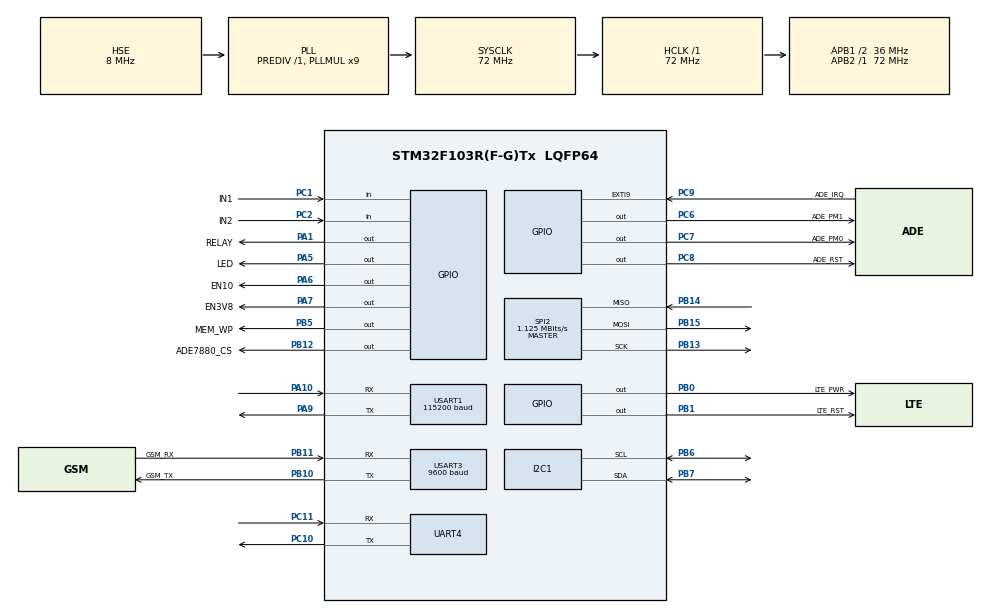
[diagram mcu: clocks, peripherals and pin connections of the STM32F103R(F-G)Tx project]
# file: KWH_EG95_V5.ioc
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ADC1.Channel-0\#ChannelRegularConversion=ADC_CHANNEL_TEMPSENSOR
ADC1.NbrOfConversionFlag=1
ADC1.Rank-0\#ChannelRegularConversion=1
ADC1.SamplingTime-0\#ChannelRegularConversion=ADC_SAMPLETIME_1CYCLE_5
ADC1.master=1
IWDG.Prescaler=IWDG_PRESCALER_256
Mcu.Family=STM32F1
Mcu.Name=STM32F103R(F-G)Tx
Mcu.Package=LQFP64
NVIC.PriorityGroup=NVIC_PRIORITYGROUP_4
NVIC.UART4_IRQn=true\:0\:0\:false\:false\:true\:true\:true
NVIC.USART1_IRQn=true\:0\:0\:false\:false\:true\:true\:true
NVIC.USART3_IRQn=true\:0\:0\:false\:false\:true\:true\:true
PA1.GPIO_Label=RELAY
PA1.Signal=GPIO_Output
PA10.Mode=Asynchronous
PA10.Signal=USART1_RX
PA13.Mode=Serial_Wire
PA13.Signal=SYS_JTMS-SWDIO
PA14.Mode=Serial_Wire
PA14.Signal=SYS_JTCK-SWCLK
PA5.GPIO_Label=LED
PA5.Signal=GPIO_Output
PA6.GPIO_Label=EN10
PA6.Signal=GPIO_Output
PA7.GPIO_Label=EN3V8
PA7.Signal=GPIO_Output
PA9.GPIO_Speed=GPIO_SPEED_FREQ_MEDIUM
PA9.Mode=Asynchronous
PA9.Signal=USART1_TX
PB0.GPIO_Label=LTE_PWR
PB0.GPIO_ModeDefaultOutputPP=GPIO_MODE_OUTPUT_OD
PB0.Signal=GPIO_Output
PB1.GPIO_Label=LTE_RST
PB1.GPIO_ModeDefaultOutputPP=GPIO_MODE_OUTPUT_OD
PB1.Signal=GPIO_Output
PB10.GPIO_Label=GSM_TX
PB10.Mode=Asynchronous
PB10.Signal=USART3_TX
PB11.GPIO_Label=GSM_RX
PB11.Mode=Asynchronous
PB11.Signal=USART3_RX
PB12.GPIO_Label=ADE7880_CS
PB12.Signal=GPIO_Output
PB13.Mode=Full_Duplex_Master
PB13.Signal=SPI2_SCK
PB14.Mode=Full_Duplex_Master
PB14.Signal=SPI2_MISO
PB15.Mode=Full_Duplex_Master
PB15.Signal=SPI2_MOSI
PB5.GPIO_Label=MEM_WP
PB5.Signal=GPIO_Output
PB6.Mode=I2C
PB6.Signal=I2C1_SCL
PB7.Mode=I2C
PB7.Signal=I2C1_SDA
PC1.GPIO_Label=IN1
PC1.Signal=GPIO_Input
PC10.Mode=Asynchronous
PC10.Signal=UART4_TX
PC11.Mode=Asynchronous
PC11.Signal=UART4_RX
PC14-OSC32_IN.Mode=LSE-External-Oscillator
PC14-OSC32_IN.Signal=RCC_OSC32_IN
PC15-OSC32_OUT.Mode=LSE-External-Oscillator
PC15-OSC32_OUT.Signal=RCC_OSC32_OUT
PC2.GPIO_Label=IN2
PC2.Signal=GPIO_Input
PC6.GPIO_Label=ADE_PM1
PC6.Signal=GPIO_Output
PC7.GPIO_Label=ADE_PM0
PC7.Signal=GPIO_Output
PC8.GPIO_Label=ADE_RST
PC8.Signal=GPIO_Output
PC9.GPIO_Label=ADE_IRQ
PC9.Signal=GPXTI9
PD0-OSC_IN.Mode=HSE-External-Oscillator
PD0-OSC_IN.Signal=RCC_OSC_IN
PD1-OSC_OUT.Mode=HSE-External-Oscillator
PD1-OSC_OUT.Signal=RCC_OSC_OUT
ProjectManager.HeapSize=0x200
ProjectManager.StackSize=0x400
ProjectManager.TargetToolchain=TrueSTUDIO
RCC.ADCPresc=RCC_ADCPCLK2_DIV6
RCC.AHBFreq_Value=72000000
RCC.APB1CLKDivider=RCC_HCLK_DIV2
RCC.APB1Freq_Value=36000000
RCC.APB1TimFreq_Value=72000000
RCC.APB2Freq_Value=72000000
RCC.APB2TimFreq_Value=72000000
RCC.HCLKFreq_Value=72000000
RCC.PLLMUL=RCC_PLL_MUL9
RCC.PLLSourceVirtual=RCC_PLLSOURCE_HSE
RCC.SYSCLKFreq_VALUE=72000000
RCC.SYSCLKSource=RCC_SYSCLKSOURCE_PLLCLK
RCC.USBFreq_Value=72000000
RTC.Format=RTC_FORMAT_BIN
SPI2.BaudRatePrescaler=SPI_BAUDRATEPRESCALER_32
SPI2.CLKPhase=SPI_PHASE_1EDGE
SPI2.CLKPolarity=SPI_POLARITY_HIGH
SPI2.CalculateBaudRate=1.125 MBits/s
SPI2.Direction=SPI_DIRECTION_2LINES
SPI2.Mode=SPI_MODE_MASTER
SPI2.VirtualType=VM_MASTER
TIM2.Period=100-1
TIM2.Prescaler=720-1
UART4.VirtualMode=Asynchronous
USART1.BaudRate=115200
USART1.VirtualMode=VM_ASYNC
USART3.BaudRate=9600
USART3.VirtualMode=VM_ASYNC
VP_ADC1_TempSens_Input.Mode=IN-TempSens
VP_IWDG_VS_IWDG.Mode=IWDG_Activate
VP_RTC_VS_RTC_Activate.Mode=RTC_Enabled
VP_RTC_VS_RTC_Calendar.Mode=RTC_Calendar
VP_TIM2_VS_ClockSourceINT.Mode=Internal
board=custom

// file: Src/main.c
/* USER CODE BEGIN Header */
/**
  ******************************************************************************
  * @file           : main.c
  * @brief          : Main program body
  ******************************************************************************
  * @attention
  *
  * <h2><center>&copy; Copyright (c) 2019 STMicroelectronics.
  * All rights reserved.</center></h2>
  *
  * This software component is licensed by ST under BSD 3-Clause license,
  * the "License"; You may not use this file except in compliance with the
  * License. You may obtain a copy of the License at:
  *                        opensource.org/licenses/BSD-3-Clause
  *
  ******************************************************************************
  */
/* USER CODE END Header */

#include "main.h"
#include "adc.h"
#include "i2c.h"
#include "iwdg.h"
#include "rtc.h"
#include "spi.h"
#include "tim.h"
#include "usart.h"
#include "gpio.h"

/* USER CODE BEGIN Includes */
#include <stdio.h>
#include <string.h>
#include <stdlib.h>

//#include "fram.h"
#include "gsm.h"
#include "encrypt.h"
#include "powermeter_ade7880.h"
#include "KWH.h"
#include "fram.h"
#include "dwt_delay.h"
/* USER CODE END Includes */

/* USER CODE BEGIN PTD */
/*
6.0.1.123	B873187C193B9D7D029B836873DAC239C790A918

6.0.1.143	C9288782F26CB829EDC4DE0C8C4800695A6F3E22
6.0.0.232	76350B760454AB811E12F0CD0400C0BA9EE4D56D
6.0.1.154	F0D6829CB2BE7747AE528214C2DAD76C7C304565
6.0.1.100	4F0816967D80FB0AF550234791E47FFBA93BFBC8
6.0.1.172	2125929F7768F13F51BA6DC87484D3597B208594
6.0.1.145	9BB1DFAA9B203F547E81ACB3B1374AED1059FA56
6.0.0.247	052F911C3502536AD696E3707B6A849EEFCC4428

KWH01310000018	B75B4C0825573E172A4B3DC8B80AD84169C74345

 * */

/* USER CODE END PTD */

/* USER CODE BEGIN PD */
/*
 * Update 17-05-2020
 * -ADE
hitung waktu pembacaan 1 batch

3 vrms
3 irms
3 pF
3 freq

hitung waktu total perhitungan	-> fixed

-character aneh setelah decrypt -> fixed

-filter tanggal					-> fixed
-cek timezone					-> fixed
-test tanpa NTP server			-> fixed
-CTZU di save pakai AT&W		-> fixed
 *
 * */

#define DBG_UART	huart1
#define GSM_UART	huart3

#define MAXDATA	512

#define UPDATE_VALUE_INTERVAL_MS	10000

//char i[] = "KWH01310000018";		//KWH01310000018
//char i[] = "KWH01310000019";		//KWH01310000019
//char i[] = "KWH01310000020";	 	//KWH01310000020
//char i[] = "KWH01310000021";	 	//KWH01310000021
char i[] = "KWH01310000022";	 	//KWH01310000022
//char i[] = "KWH01310000023";	 	//KWH01310000023
//char i[] = "KWH01310000024";	 	//KWH01310000024
//char i[] = "KWH01310000025";	 	//KWH01310000025
//char i[] = "KWH01310000026";	 	//KWH01310000026
//char i[] = "KWH01310000027";	 	//KWH01310000027
//char i[] = "KWH03200000028";	 	//KWH01310000028

//char i[] = "6.0.1.123";		//Demo Smart KWH EG95 ID1
//char i[] = "Smart Kwh EG95 Beta Test 01";		//Demo Smart KWH EG95 ID2
//char i[] = "Smart Kwh EG95 Beta Test 02";		//Demo Smart KWH EG95 SIKLON
//char i[] = "Demo Smart KWH 02";
//char i[] = "Demo Smart KWH 01";
//char i[] = "KWH-1908-0.0.0.0.0.8";
//char i[] = "KWH-1908-0.0.0.0.0.7";
//char i[] = "KWH-1908-0.0.0.0.0.6";
//char i[] = "KWH-1908-0.0.0.0.0.5";
//char i[] = "KWH-1908-0.0.0.0.0.4";
//char i[] = "KWH-1908-0.0.0.0.0.3";
//char i[] = "KWH-1908-0.0.0.0.0.2";
//char i[] = "KWH-1908-0.0.0.0.0.1";

const char VER[] = "1.0";
//const char T[] = "Demo Smart KWH 02";
const char T[] = "KWH";
const char GSM[] = "0123456789";
char v[MAXDATA];

char RXDataBuff[MAXDATA];
char RX_k[20];
char RX_v[MAXDATA];
char v_updated[MAXDATA];
char data[MAXDATA];

char TX_k[20];
char TX_v[MAXDATA];

uint32_t last_update_server_minutes;
uint32_t last_update_val_ms;

const char URL[] = "http://io.smartsiklon.co.id";//\r\n";

/* USER CODE END PD */

/* USER CODE BEGIN PM */
uint8_t buff1[20],buff3[20],buff4[20];

void HAL_RstTick(void);
/* USER CODE END PM */

/* USER CODE BEGIN PV */
void HAL_UART_RxCpltCallback(UART_HandleTypeDef *UartHandle)
{
	if(UartHandle->Instance == USART1){

//		HAL_UART_Transmit(&huart3,buff1,1,1000);
		HAL_UART_Transmit(&GSM_UART,buff1,1,10);

		HAL_UART_Receive_IT(&huart1, (uint8_t *)buff1, 1);
	}
	else if(UartHandle->Instance == UART4){

//		HAL_UART_Transmit(&GSM_UART,buff4,1,100);

		HAL_UART_Receive_IT(&DBG_UART, (uint8_t *)buff4, 1);
	}
	else if(UartHandle->Instance == USART3){

		GSMRXbuff[GSM_rx_index] = buff3[0];
		++GSM_rx_index;

		HAL_UART_Transmit(&DBG_UART,buff3,1,10);

		HAL_UART_Receive_IT(&GSM_UART, (uint8_t *)buff3, 1);
	}

}

float baca_suhuIC()
{
		uint16_t sensorValue;
		float temperature;
		HAL_ADC_Start(&hadc1);
		HAL_Delay(10);
		HAL_ADC_PollForConversion(&hadc1, 100);
		sensorValue = HAL_ADC_GetValue(&hadc1);
		HAL_ADC_Stop(&hadc1);
		temperature=((1.43 - (float)sensorValue*(3.3/4095.0)) / 4.3) + 25;
		return temperature;
}
/* USER CODE END PV */

void SystemClock_Config(void);

int main(void)
{

	/* USER CODE BEGIN 1 */
	char buff[400],ctime_s[20];
	char IMSI[15];
	char IMEI[15];
	uint16_t n;
	uint16_t data_length;
	uint16_t errcode;
	uint8_t retry;
//	uint16_t g;
	uint8_t PWMV;
	uint16_t ADEStuck_count;

	RTC_TimeTypeDef cTime;
	RTC_DateTypeDef cDate;

	daily_schedule_t	day_schedule;
	pwr_value_t pwr_val;
	pwr_value_t last_pwr_val;
	WH_T tWH;
	char isSGM_Init=0;
	float WH;
	int ns=1;

	char UPDATE_SERVER_INTERVAL_MINUTE;

	uint32_t t_conv;
	uint32_t t_update;

  /* USER CODE END 1 */

  /* MCU Configuration--------------------------------------------------------*/

  /* Reset of all peripherals, Initializes the Flash interface and the Systick. */
  HAL_Init();

  /* Configure the system clock */
  SystemClock_Config();

  /* Initialize all configured peripherals */
  MX_GPIO_Init();
  MX_UART4_Init();
  MX_USART1_UART_Init();
  MX_USART3_UART_Init();
  MX_IWDG_Init();
  MX_RTC_Init();
  MX_ADC1_Init();
  MX_TIM2_Init();
  MX_I2C1_Init();
  MX_SPI2_Init();
  /* USER CODE BEGIN 2 */

  HAL_UART_Receive_IT(&DBG_UART, (uint8_t *)buff1, 1);
  HAL_UART_Receive_IT(&GSM_UART, (uint8_t *)buff3, 1);

  DWT_Init();
  HAL_RstTick();

  __HAL_RCC_RTC_ENABLE();
  ADE7880_Config();
  HAL_GPIO_WritePin(RELAY_GPIO_Port,RELAY_Pin,0);

  gsmON();
  HAL_IWDG_Refresh(&hiwdg);
  getIMSI(IMSI);
  HAL_IWDG_Refresh(&hiwdg);
  getIMEI(IMEI);
  HAL_IWDG_Refresh(&hiwdg);
  setZone();
  HAL_IWDG_Refresh(&hiwdg);
  gsmStatus(BYPASS);
  HAL_IWDG_Refresh(&hiwdg);
  updateTime(&cTime,&cDate);
  HAL_IWDG_Refresh(&hiwdg);

  day_schedule.pwm_force=0;
  day_schedule.pwm_force_val=0;
  for(int i=0; i<2; i++){
	  day_schedule.pwm_schedule[i].hour = 5;
	  day_schedule.pwm_schedule[i].min = 30;
  	  day_schedule.pwm_schedule[i].sec = 0;
  	  day_schedule.pwm_schedule[i].pwm_val = 0;
   }
   isSGM_Init=1;
   PWMV =0;
   UPDATE_SERVER_INTERVAL_MINUTE=0;
   errcode=0;
   retry=0;
   ADEStuck_count=0;
   t_conv =0;

   //Get Latest WH Value
   WH = FRAM_Read_WH();
   //save it to temporary 3 phase variable
   tWH.WH_R = WH/3;
   tWH.WH_S = WH/3;
   tWH.WH_T = WH/3;
   //Set it to Current WH
   setWH(&tWH);

   /* USER CODE END 2 */

  /* Infinite loop */
  while (1)
  {

    /* USER CODE BEGIN 3 */
	if((HAL_GetTick() - last_update_val_ms) >= UPDATE_VALUE_INTERVAL_MS - t_conv){
		//save start conversion time
		t_conv = HAL_GetTick();

		HAL_GPIO_TogglePin(LED_GPIO_Port,LED_Pin);

//		HAL_RTC_GetTime(&hrtc,&cTime,RTC_FORMAT_BIN);
//	  	HAL_RTC_GetDate(&hrtc,&cDate, RTC_FORMAT_BIN);

	  	//Update Parameter Electric
	  	getElectricValue(&pwr_val);

	  	WH = pwr_val.WH_R + pwr_val.WH_S + pwr_val.WH_T;

	  	if(pwr_val.VRms_R == last_pwr_val.VRms_R && pwr_val.VRms_S == last_pwr_val.VRms_S && pwr_val.VRms_T == last_pwr_val.VRms_T ){
	  		ADEStuck_count++;
	  	}else{
	  		ADEStuck_count=0;
	  	}

	  	//Re-Initialize ADE7880 if Stuck
	  	if(ADEStuck_count>10){
	  		ADE7880_Config();
	  		ADEStuck_count=0;
	  	}

//	  	//get WH Value
//	  	getWH(&tWH);

	  	//Save WH Data to FRAM
	  	WattH.m_float = WH;
	  	WritemByte_FRAM(addr_energy,WattH.m_bytes);

	  	//Get current pwr value for next state compare
//	  	getElectricValue(&last_pwr_val);

	  	n = sprintf(buff,"VR=%3.2f IR=%2.2f PFR=%2.2f PR=%2.2f WHR=%3.5f\r\n",pwr_val.VRms_R,pwr_val.IRms_R,pwr_val.Pf_R,pwr_val.Pow_R,pwr_val.WH_R);
	  	HAL_UART_Transmit(&huart1,(uint8_t*)&buff,n,10000);

	  	n = sprintf(buff,"VS=%3.2f IS=%2.2f PFS=%2.2f PS=%2.2f WHS=%3.5f\r\n",pwr_val.VRms_S,pwr_val.IRms_S,pwr_val.Pf_S,pwr_val.Pow_S,pwr_val.WH_S);
	  	HAL_UART_Transmit(&huart1,(uint8_t*)&buff,n,10000);

	  	n = sprintf(buff,"VT=%3.2f IT=%2.2f PFT=%2.2f PT=%2.2f WHT=%3.5f\r\n",pwr_val.VRms_T,pwr_val.IRms_T,pwr_val.Pf_T,pwr_val.Pow_T,pwr_val.WH_T);
	  	HAL_UART_Transmit(&huart1,(uint8_t*)&buff,n,10000);

	  	n = sprintf(buff,"WH=%3.5f\r\n",WH);//pwr_val.WH_R + pwr_val.WH_S + pwr_val.WH_T);
	  	HAL_UART_Transmit(&huart1,(uint8_t*)&buff,n,10000);

	  	last_pwr_val.VRms_R = pwr_val.VRms_R;
	  	last_pwr_val.VRms_S = pwr_val.VRms_S;
	  	last_pwr_val.VRms_T = pwr_val.VRms_T;

	  	HAL_GPIO_TogglePin(LED_GPIO_Port,LED_Pin);

		//accumulate conversion time
	  	t_conv = HAL_GetTick()-t_conv;

//	  	n = sprintf(buff,"tconv=%d\r\n",t_conv);
	  	n = sprintf(buff,"tick= %d ms\r\n",HAL_GetTick());
	  	HAL_UART_Transmit(&huart1,(uint8_t*)&buff,n,10000);
//	  	n = sprintf(buff,"Min =%d last =%d\r\n",cTime.Minutes,last_update_server_minutes);
//	  	HAL_UART_Transmit(&huart1,(uint8_t*)&buff,n,10000);

//	  	HAL_RstTick();

	  	last_update_val_ms= HAL_GetTick();
	}

	if((HAL_GetTick() - last_update_server_minutes > UPDATE_SERVER_INTERVAL_MINUTE*60000 /*- t_update*/) || retry==1){

		//get start time
		uint32_t t_update_mils = HAL_GetTick();

		//Turn On GSM Module if it's off
		gsmReset();

		//Get Updated Current Time from GSM
		updateTime(&cTime,&cDate);
		HAL_IWDG_Refresh(&hiwdg);

		float latitude=LATITUDE;//Read_latitude();    //Latitude akan diisi dengan last position latitude
		float longitude=LONGITUDE;//Read_longitude();  //Longitude akan diisi dengan last position longitude

		//Construct CTIME
		n=sprintf(ctime_s,"%4d-%02d-%02d %02d:%02d:%02d",cDate.Year+2000,cDate.Month,cDate.Date,cTime.Hours,cTime.Minutes,cTime.Seconds);

		//construct V string
		n = sprintf(v,"VER=%s;T=%s;UID=%s;GSM=%s;IMEI=%s;LAT=%f;LNG=%f;CTIME=%s;VR=%3.2f;VS=%3.2f;VT=%3.2f;IR=%3.2f;IS=%3.2f;IT=%3.2f;PWR=%3.2f;PWS=%3.2f;PWT=%3.2f;PFR=%3.2f;PFS=%3.2f;PFT=%3.2f;WHC=%d;WH=%3.2f;FREQ=%3.2f;INTERVAL=%d;PWMV1=%d;PWMV2=%d;PWM1=%02d:%02d;PWM2=%02d:%02d;PWMFORCE=%d;PWMFORCEV=%d;PWMV=%d;TEMP=%3.2f;SIGNAL=%d;ERRCODE=%d",
			VER,T,i,IMSI,IMEI,latitude,longitude,ctime_s,pwr_val.VRms_R,pwr_val.VRms_S,pwr_val.VRms_T,pwr_val.IRms_R,pwr_val.IRms_S,pwr_val.IRms_T,pwr_val.Pow_R,pwr_val.Pow_S,pwr_val.Pow_T,pwr_val.Pf_R,
			pwr_val.Pf_S,pwr_val.Pf_T,pwr_val.WHC_T,WH,pwr_val.Freq_T,UPDATE_SERVER_INTERVAL_MINUTE,
			day_schedule.pwm_schedule[0].pwm_val,day_schedule.pwm_schedule[1].pwm_val,day_schedule.pwm_schedule[0].hour,day_schedule.pwm_schedule[0].min,
			day_schedule.pwm_schedule[1].hour,day_schedule.pwm_schedule[1].min,day_schedule.pwm_force,day_schedule.pwm_force_val,PWMV,baca_suhuIC(),cekSignal(),errcode);

		//Temporary save WH
		getWH(&tWH);

		//reset WH value
		resetWH();

		HAL_UART_Transmit(&huart1,(uint8_t*)&v,n,30000);
		HAL_UART_Transmit(&huart1,(uint8_t*)"\r\n",2,1000);

		//encrypt Data
		encrypt(v,TX_k,TX_v,n);
		data_length = sprintf(data,"i=%s&k=%s&v=%s",i,TX_k,TX_v);
		HAL_UART_Transmit(&huart1,(uint8_t*)&data,data_length,30000);
		HAL_UART_Transmit(&huart1,(uint8_t*)"\r\n",2,1000);

		//Push Data to Server
		int dl = HTTP_POST(URL,data,data_length,RXDataBuff);
		n=sprintf(buff,"datalength %d\r\n",dl);
		HAL_UART_Transmit(&huart1,(uint8_t*)&buff,n,30000);

		//update 17-05-2020
		/*
		 * test pakai malloc
		 * */
//		for(int z=0; z<dl-11;z++)
//		{
//			RX_v[z]=' ';
//		}
		//Allocate memory in size of dl bytes
		char *pRXv = (char *)malloc(dl-10);

		if(dl >= 30){
			int next=0,j=0;
			for (int i=0; i<dl; i++) {
				if (RXDataBuff[i] == '!') {
					next = 1;
					j = 0;
				}else {
					if (next == 0)
						RX_k[j] = RXDataBuff[i];
					else
						pRXv[j] = RXDataBuff[i];
					j++;
				}
			}

//		for(int z=0; z<MAXDATA;z++)
//		{
//			RX_v[z]=' ';
//		}
//
//			if(dl >=30){
//				retry=0;
//				errcode=0;
//				int next=0,j=0;
//				for (int i=0; i<dl; i++) {
//					if (RXDataBuff[i] == '!') {
//						next = 1;
//						j = 0;
//					}else {
//						if (next == 0)
//							RX_k[j] = RXDataBuff[i];
//						else
//							RX_v[j] = RXDataBuff[i];
//
//						j++;
//					}
//			}

			int kl = strlen(RX_k);	//get RX_K length

			//Decrypt Data
//			decrypt(RX_k,pRXv,v_updated,dl);
			decrypt(RX_k,pRXv,v_updated,dl,kl);

			n = sprintf(data,"RX Key = %s \r\n",RX_k);
			HAL_UART_Transmit(&huart1,(uint8_t*)&data,n,10000);
			n = sprintf(data,"RX Data \r\n");
			HAL_UART_Transmit(&huart1,(uint8_t*)&data,n,10000);
			n = sprintf(data,"%s",RX_v);
			HAL_UART_Transmit(&huart1,(uint8_t*)&data,dl-kl-1,10000);

			n = sprintf(data,"\r\nHasil Decrypt \r\n");
			HAL_UART_Transmit(&huart1,(uint8_t*)&data,n,10000);
			n = sprintf(data,"%s\r\n",v_updated);
			HAL_UART_Transmit(&huart1,(uint8_t*)&data,dl-9,10000);

			//Get Updated Schedule from Server
//			UPDATE_SERVER_INTERVAL_MINUTE = getData(v_updated,&day_schedule);
			UPDATE_SERVER_INTERVAL_MINUTE = getData(v_updated,&day_schedule, &ns);

			n = sprintf(data,"\r\nUpdate %d\r\n",UPDATE_SERVER_INTERVAL_MINUTE);
			HAL_UART_Transmit(&huart1,(uint8_t*)&data,n,10000);

			//Update PWMValue
			PWMV = updatePwmVal(&cTime,&day_schedule,ns);
			errcode=0;

			//Matikan GSM module
//			gsmOFF();
			isSGM_Init=0;

			free(pRXv);
		}else{
			retry=1;
			errcode=1;

			//If data isn't valid, WH will continue to meassure it's last value before being reset
			WH_T temp;
			getWH(&temp);

			temp.WH_R += tWH.WH_R;
			temp.WH_S += tWH.WH_S;
			temp.WH_T += tWH.WH_T;

			setWH(&temp);

			n = sprintf(data,"Data Invalid, Not Updated, GSM Reset\r\n");
			HAL_UART_Transmit(&huart1,(uint8_t*)&data,n,10000);
			gsmReset();

			//Matikan GSM module
			gsmOFF();
			isSGM_Init=0;
		}

		n= sprintf(buff,"mode : %d pwm_val= %d interval=%d\r\n",day_schedule.pwm_force ,day_schedule.pwm_force_val,UPDATE_SERVER_INTERVAL_MINUTE);
		HAL_UART_Transmit(&huart1,(uint8_t*)&buff,n,10000);

		for(int j=0; j<ns; j++){
			n = sprintf(data,"H%d = %2d:%2d:%2d pwm= %3d\r\n",j+1,day_schedule.pwm_schedule[j].hour,day_schedule.pwm_schedule[j].min,day_schedule.pwm_schedule[j].sec,day_schedule.pwm_schedule[j].pwm_val);
			HAL_UART_Transmit(&huart1,(uint8_t*)&data,n,10000);
		}

		HAL_IWDG_Refresh(&hiwdg);

		//time need for sending data to server / 60
		t_update_mils = (HAL_GetTick() - t_update_mils);

//		if(t_update_mils%1000 > 500)
//			t_update = (t_update_mils + 1000)/1000;
//		else
//			t_update = t_update_mils/1000;

		n = sprintf(buff,"time update=%d ms\r\n",t_update_mils);
		HAL_UART_Transmit(&huart1,(uint8_t*)&buff,n,10000);

		HAL_RstTick();
		last_update_server_minutes = HAL_GetTick();//cTime.Minutes;
	}

//	cekSendCmd("AT+CCLK?","OK");
//    HAL_GPIO_TogglePin(LED_GPIO_Port,LED_Pin);
//	HAL_Delay(1000);

	//Stuck lebih dari 10x berarti nunggu direset
	if(UPDATE_SERVER_INTERVAL_MINUTE<60){
		HAL_IWDG_Refresh(&hiwdg);
	}

  }
  /* USER CODE END 3 */
}

void SystemClock_Config(void)
{
  RCC_OscInitTypeDef RCC_OscInitStruct = {0};
  RCC_ClkInitTypeDef RCC_ClkInitStruct = {0};
  RCC_PeriphCLKInitTypeDef PeriphClkInit = {0};

  /** Initializes the CPU, AHB and APB busses clocks
  */
  RCC_OscInitStruct.OscillatorType = RCC_OSCILLATORTYPE_LSI|RCC_OSCILLATORTYPE_HSE;
  RCC_OscInitStruct.HSEState = RCC_HSE_ON;
  RCC_OscInitStruct.HSEPredivValue = RCC_HSE_PREDIV_DIV1;
  RCC_OscInitStruct.HSIState = RCC_HSI_ON;
  RCC_OscInitStruct.LSIState = RCC_LSI_ON;
  RCC_OscInitStruct.PLL.PLLState = RCC_PLL_ON;
  RCC_OscInitStruct.PLL.PLLSource = RCC_PLLSOURCE_HSE;
  RCC_OscInitStruct.PLL.PLLMUL = RCC_PLL_MUL9;
  if (HAL_RCC_OscConfig(&RCC_OscInitStruct) != HAL_OK)
  {
    Error_Handler();
  }
  /** Initializes the CPU, AHB and APB busses clocks
  */
  RCC_ClkInitStruct.ClockType = RCC_CLOCKTYPE_HCLK|RCC_CLOCKTYPE_SYSCLK
                              |RCC_CLOCKTYPE_PCLK1|RCC_CLOCKTYPE_PCLK2;
  RCC_ClkInitStruct.SYSCLKSource = RCC_SYSCLKSOURCE_PLLCLK;
  RCC_ClkInitStruct.AHBCLKDivider = RCC_SYSCLK_DIV1;
  RCC_ClkInitStruct.APB1CLKDivider = RCC_HCLK_DIV2;
  RCC_ClkInitStruct.APB2CLKDivider = RCC_HCLK_DIV1;

  if (HAL_RCC_ClockConfig(&RCC_ClkInitStruct, FLASH_LATENCY_2) != HAL_OK)
  {
    Error_Handler();
  }
  PeriphClkInit.PeriphClockSelection = RCC_PERIPHCLK_RTC|RCC_PERIPHCLK_ADC;
  PeriphClkInit.RTCClockSelection = RCC_RTCCLKSOURCE_LSI;
  PeriphClkInit.AdcClockSelection = RCC_ADCPCLK2_DIV6;
  if (HAL_RCCEx_PeriphCLKConfig(&PeriphClkInit) != HAL_OK)
  {
    Error_Handler();
  }
}

/* USER CODE BEGIN 4 */
uint32_t wTick;
void HAL_RstTick(void)
{
  wTick = 0;
}

void HAL_IncTick(void)
{
  wTick += uwTickFreq;
}

uint32_t HAL_GetTick(void)
{
  return wTick;
}

/* USER CODE END 4 */

void Error_Handler(void)
{
}

/************************ (C) COPYRIGHT STMicroelectronics *****END OF FILE****/
